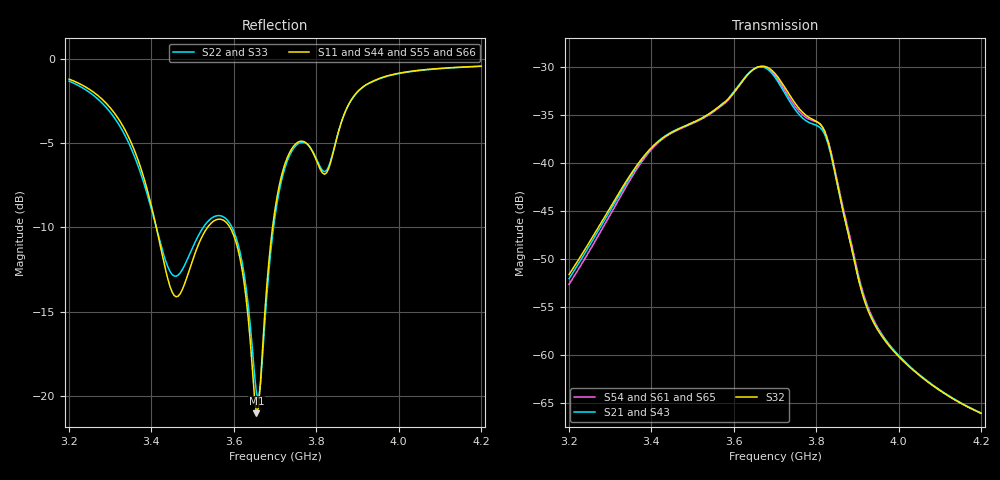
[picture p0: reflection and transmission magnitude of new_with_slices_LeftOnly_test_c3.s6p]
! Touchstone file exported from HFSS 2024.2.0
!  File:  D:/Jatin/new_with_slices.aedt
!  Generated:  09:18:27 AM Oct  4, 2026
!  Design:  LeftOnly_test
!  Project:  new_with_slices
!  Setup:  Setup1
!  Solution:  Sweep
! Variables:
!  $L = 85mm
!  $W = 35mm
!  H = 1.575mm
!  L = 42mm
!  W = 35mm
!  Wb = 6mm
!  a = 3.5mm
!  ant_dist = 115mm
!  ant_gap = 3mm
!  b = 5mm
!  c = 5mm
!  d = 2mm
!  e_S1 = 0mm
!  e_S2 = 7.5mm
!  e_S3 = 11.5mm
!  e_S4 = 0mm
!  e_S5 = 0mm
!  e_S6 = 0mm
!  g1 = 2mm
!  g2 = 2mm
!  g3 = 1mm
!  g4 = 2mm
!  gap = 10mm
!  r1 = 3.5mm
!  r2 = 6mm
!  r_brain = 95mm
!  r_brain_ad = 61.68mm
!  r_csf = 95.5mm
!  r_csf_expanded = 64.6mm
!  r_csf_inner = 61.68mm
!  r_csf_outer = 83.5mm
!  r_fat = 87.5mm
!  r_gray = 70.55mm
!  r_gray_healthy = 83mm
!  r_grey_healthy = 83mm
!  r_hip = 17.5mm
!  r_hippo_healthy = 25mm
!  r_skin = 88mm
!  r_skull = 86.5mm
!  r_white = 17.5mm
!  r_white_healthy = 76mm
!  slot_distance = 15mm
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# GHz S MA R 50.000000
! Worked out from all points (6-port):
!   201 points, 3.2 GHz to 4.2 GHz, reference 50 ohm
!   strongest paths, dB at 3.2 GHz, 3.45 GHz, 3.7 GHz, 3.95 GHz, 4.2 GHz:
!     S32: -51.6, -36.8, -30.7, -57.4, -66.1
!     S21: -52.1, -36.8, -31.1, -57.3, -66.0
!     S54: -52.6, -36.9, -30.9, -57.2, -66.1
!     S43: -52.1, -36.8, -30.9, -57.3, -66.2
!     S61: -52.6, -36.9, -30.7, -57.3, -66.1
!     S65: -52.6, -37.1, -31.0, -57.3, -66.3
!   lowest |S11| = -21.0 dB at 3.655 GHz (marker M1), VSWR 1.20, Z = 43.4 - j5.08 ohm
!   |S11| at or under -10 dB: 3.412 GHz to 3.536 GHz (124.4 MHz wide, 3.58 % of centre); 3.591 GHz to 3.694 GHz (103.5 MHz wide, 2.84 % of centre)
